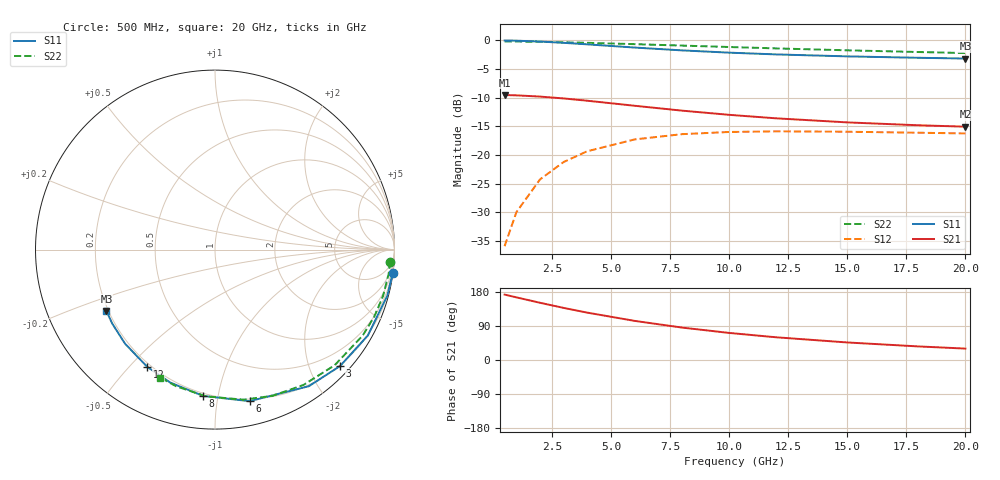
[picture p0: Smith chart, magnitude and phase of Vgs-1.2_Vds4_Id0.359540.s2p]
# Hz S RI R 50
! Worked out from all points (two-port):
!   12 points, 500 MHz to 20 GHz, reference 50 ohm
!   highest |S21| = -9.53 dB at 500 MHz (marker M1); lowest = -15.0 dB at 20 GHz (marker M2)
!   |S21| within 3 dB of the highest: start of sweep to 8.77 GHz
!   lowest |S11| = -3.2 dB at 20 GHz (marker M3), VSWR 5.55, Z = 9.61 - j12.7 ohm
!   |S11| at or under -10 dB: nowhere
!   |S22| runs from -2.2 to -0.2 dB; largest |S21 - S12| = 0.33
!   S11 on the Smith chart (normalised r, x): 500 MHz: 0, -15; 3 GHz: 0.18, -2.53; 6 GHz: 0.18, -1.24; 8 GHz: 0.18, -0.91; 12 GHz: 0.19, -0.56; 20 GHz: 0.19, -0.25
5e8  0.9899 -0.1301  -0.3311 0.043  0.00153 0.016  0.9762 -0.0663
1e9  0.9604 -0.2558  -0.3208 0.0844  0.00599 0.0313  0.9681 -0.1319
2e9  0.8513 -0.4789  -0.283 0.1571  0.0223 0.0572  0.9363 -0.2584
3e9  0.6967 -0.6488  -0.2298 0.2108  0.0449 0.0746  0.8867 -0.3749
4e9  0.5227 -0.7611  -0.1707 0.2441  0.0694 0.0829  0.8226 -0.4791
6e9  0.1925 -0.8444  -0.0618 0.2621  0.1122 0.0786  0.6667 -0.6443
8e9  -0.0655 -0.8156  0.0186 0.2435  0.1398 0.0602  0.4931 -0.754
1e10  -0.2493 -0.7409  0.0714 0.2127  0.1542 0.0389  0.3205 -0.8145
1.2e10  -0.3774 -0.6533  0.1049 0.1809  0.1599 0.0197  0.1594 -0.8362
1.5e10  -0.5008 -0.5248  0.1332 0.1394  0.1598 -0.00285  -0.0496 -0.8176
1.8e10  -0.5736 -0.4103  0.1475 0.1066  0.1556 -0.0188  -0.2163 -0.7614
2e10  -0.6046 -0.3421  0.153 0.0888  0.1521 -0.0268  -0.306 -0.7126
